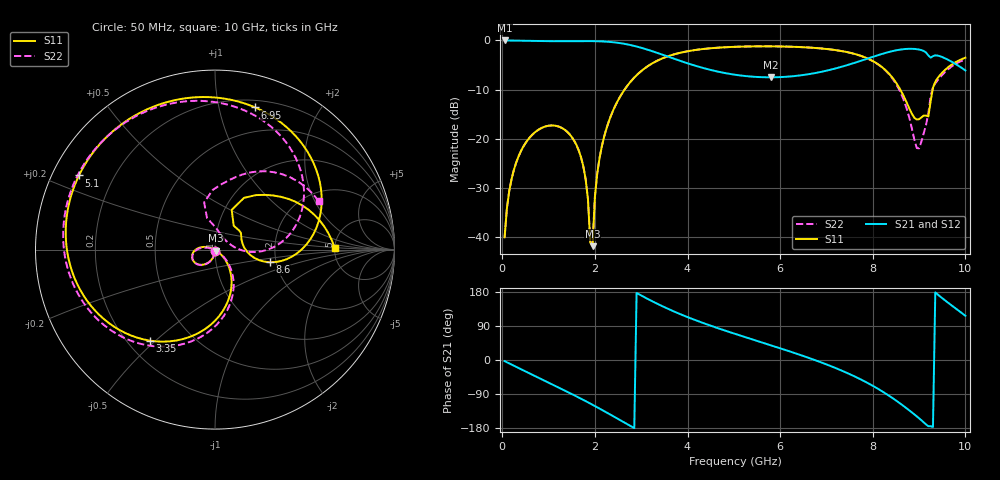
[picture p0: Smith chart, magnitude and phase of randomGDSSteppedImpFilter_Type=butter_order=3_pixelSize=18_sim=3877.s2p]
! freq	dB(S11)	phase(S11)	dB(S12)	phase(S12)
!  dB(S21)	phase(S21)	dB(S22)	phase(S22)
!S-par simulation data
#  GHz  S  DB  R 50
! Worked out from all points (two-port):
!   200 points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, 50 MHz to 10 GHz, reference 50 ohm
!   highest |S21| = -0.01 dB at 50 MHz (marker M1); lowest = -7.5 dB at 5.8 GHz (marker M2)
!   |S21| within 3 dB of the highest: start of sweep to 3.49 GHz; 8.111 GHz to 9.196 GHz (1.085 GHz wide, 12.5 % of centre)
!   lowest |S11| = -41.8 dB at 1.95 GHz (marker M3), VSWR 1.02, Z = 50.6 - j0.542 ohm
!   |S11| at or under -10 dB: start of sweep to 2.641 GHz; 8.594 GHz to 9.293 GHz (699.4 MHz wide, 7.82 % of centre)
!   |S22| runs from -41.3 to -1.2 dB; largest |S21 - S12| = 0
!   S11 on the Smith chart (normalised r, x): 50 MHz: 1.00, -0.02; 3.35 GHz: 0.29, -0.48; 5.1 GHz: 0.08, +0.25; 6.95 GHz: 0.26, +1.29; 8.6 GHz: 1.85, -0.29; 10 GHz: 5.01, +0.12
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0.05  -40.04 -92.4  -0.01 -3.1  -0.01 -3.1  -40.02 -92.2
0.25  -26.34 -105.2  -0.03 -15.1  -0.03 -15.1  -26.34 -104.8
0.7  -18.73 -133.0  -0.11 -41.9  -0.11 -41.9  -18.73 -131.8
1.35  -18.18 -172.1  -0.16 -80.6  -0.16 -80.6  -18.18 -169.6
1.75  -25.63 163.8  -0.14 -105.3  -0.14 -105.3  -25.64 167.9
1.95  -41.85 -41.5  -0.15 -118.2  -0.15 -118.2  -41.25 -48.5
2.05  -27.10 -39.3  -0.16 -124.8  -0.16 -124.8  -27.04 -38.1
2.3  -16.48 -55.1  -0.29 -141.8  -0.29 -141.8  -16.46 -52.2
3.35  -4.11 -125.5  -2.55 148.2  -2.55 148.2  -4.10 -119.9
3.4  -3.89 -128.4  -2.71 145.2  -2.71 145.2  -3.88 -122.8
4.2  -1.91 -170.3  -5.24 103.8  -5.24 103.8  -1.90 -162.7
5.05  -1.29 153.4  -7.02 68.0  -7.02 68.0  -1.29 163.4
5.1  -1.28 151.4  -7.08 66.0  -7.08 66.0  -1.27 161.6
5.8  -1.20 123.5  -7.51 38.8  -7.51 38.8  -1.20 136.0
6.7  -1.50 85.7  -6.74 2.0  -6.74 2.0  -1.49 101.4
6.95  -1.69 74.3  -6.26 -9.3  -6.26 -9.3  -1.69 90.9
7.75  -3.16 32.9  -4.13 -51.8  -4.13 -51.8  -3.17 51.5
8.35  -6.76 -2.4  -2.35 -94.2  -2.35 -94.2  -6.88 14.7
8.6  -10.10 -13.0  -1.85 -115.5  -1.85 -115.5  -10.59 0.0
9  -16.02 20.9  -1.86 -153.8  -1.86 -153.8  -21.96 54.4
9.3  -9.62 60.7  -3.20 -176.7  -3.20 -176.7  -9.55 92.1
10  -3.51 0.6  -6.10 116.7  -6.10 116.7  -3.91 25.1
